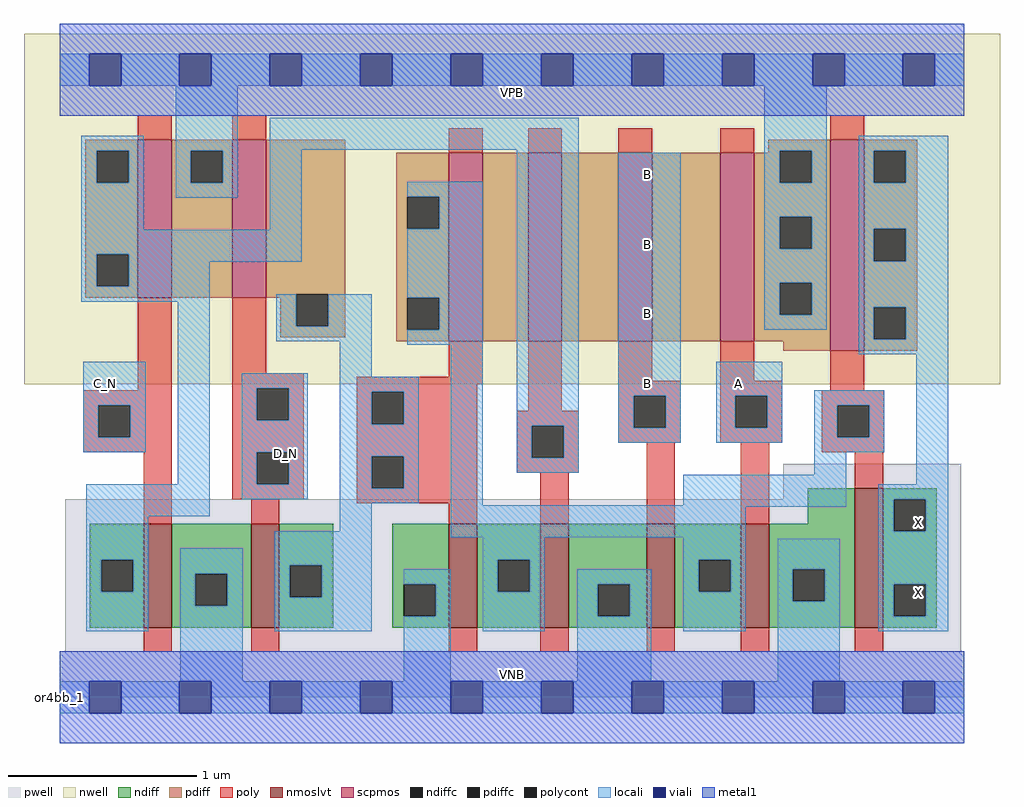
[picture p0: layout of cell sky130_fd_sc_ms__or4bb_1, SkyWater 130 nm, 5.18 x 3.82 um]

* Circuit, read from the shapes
.subckt sky130_fd_sc_ms__or4bb_1 A B C_N D_N VGND VNB VPB VPWR X
XM1 VGND C_N n1 VNB sky130_fd_pr__nfet_01v8_lvt w=0.55 l=0.15
XM2 n2 D_N VGND VNB sky130_fd_pr__nfet_01v8_lvt w=0.55 l=0.15
XM3 n3 n2 VGND VNB sky130_fd_pr__nfet_01v8_lvt w=0.55 l=0.15
XM4 VGND n1 n3 VNB sky130_fd_pr__nfet_01v8_lvt w=0.55 l=0.15
XM5 n3 B VGND VNB sky130_fd_pr__nfet_01v8_lvt w=0.55 l=0.15
XM6 VGND A n3 VNB sky130_fd_pr__nfet_01v8_lvt w=0.55 l=0.15
XM7 X n3 VGND VNB sky130_fd_pr__nfet_01v8_lvt w=0.74 l=0.15
XM8 VPWR C_N n1 VPB sky130_fd_pr__pfet_01v8 w=0.84 l=0.18
XM9 n2 D_N VPWR VPB sky130_fd_pr__pfet_01v8 w=0.84 l=0.18
XM10 n4 n2 n3 VPB sky130_fd_pr__pfet_01v8 w=1 l=0.18
XM11 n5 n1 n4 VPB sky130_fd_pr__pfet_01v8 w=1 l=0.18
XM12 n6 B n5 VPB sky130_fd_pr__pfet_01v8 w=1 l=0.18
XM13 VPWR A n6 VPB sky130_fd_pr__pfet_01v8 w=1 l=0.18
XM14 X n3 VPWR VPB sky130_fd_pr__pfet_01v8 w=1.12 l=0.18
.ends

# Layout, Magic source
magic
tech sky130A
magscale 1 2
<< nwell >>
rect -38 332 998 704
<< pwell >>
rect 768 210 957 248
rect 6 49 957 210
rect 0 0 960 49
<< scpmos >>
rect 83 424 119 592
rect 183 424 219 592
rect 413 378 449 578
rect 497 378 533 578
rect 593 378 629 578
rect 701 378 737 578
rect 818 368 854 592
<< nmoslvt >>
rect 89 74 119 184
rect 203 74 233 184
rect 413 74 443 184
rect 510 74 540 184
rect 623 74 653 184
rect 723 74 753 184
rect 844 74 874 222
<< ndiff >>
rect 794 184 844 222
rect 32 146 89 184
rect 32 112 44 146
rect 78 112 89 146
rect 32 74 89 112
rect 119 131 203 184
rect 119 97 144 131
rect 178 97 203 131
rect 119 74 203 97
rect 233 140 290 184
rect 233 106 244 140
rect 278 106 290 140
rect 233 74 290 106
rect 353 120 413 184
rect 353 86 365 120
rect 399 86 413 120
rect 353 74 413 86
rect 443 146 510 184
rect 443 112 465 146
rect 499 112 510 146
rect 443 74 510 112
rect 540 120 623 184
rect 540 86 571 120
rect 605 86 623 120
rect 540 74 623 86
rect 653 146 723 184
rect 653 112 678 146
rect 712 112 723 146
rect 653 74 723 112
rect 753 136 844 184
rect 753 102 778 136
rect 812 102 844 136
rect 753 74 844 102
rect 874 210 931 222
rect 874 176 885 210
rect 919 176 931 210
rect 874 120 931 176
rect 874 86 885 120
rect 919 86 931 120
rect 874 74 931 86
<< pdiff >>
rect 27 580 83 592
rect 27 546 39 580
rect 73 546 83 580
rect 27 470 83 546
rect 27 436 39 470
rect 73 436 83 470
rect 27 424 83 436
rect 119 580 183 592
rect 119 546 139 580
rect 173 546 183 580
rect 119 424 183 546
rect 219 428 303 592
rect 752 580 818 592
rect 752 578 764 580
rect 219 424 251 428
rect 234 394 251 424
rect 285 394 303 428
rect 234 382 303 394
rect 357 531 413 578
rect 357 497 369 531
rect 403 497 413 531
rect 357 424 413 497
rect 357 390 369 424
rect 403 390 413 424
rect 357 378 413 390
rect 449 378 497 578
rect 533 378 593 578
rect 629 378 701 578
rect 737 546 764 578
rect 798 546 818 580
rect 737 510 818 546
rect 737 476 764 510
rect 798 476 818 510
rect 737 440 818 476
rect 737 406 764 440
rect 798 406 818 440
rect 737 378 818 406
rect 768 368 818 378
rect 854 580 910 592
rect 854 546 864 580
rect 898 546 910 580
rect 854 497 910 546
rect 854 463 864 497
rect 898 463 910 497
rect 854 414 910 463
rect 854 380 864 414
rect 898 380 910 414
rect 854 368 910 380
<< ndiffc >>
rect 44 112 78 146
rect 144 97 178 131
rect 244 106 278 140
rect 365 86 399 120
rect 465 112 499 146
rect 571 86 605 120
rect 678 112 712 146
rect 778 102 812 136
rect 885 176 919 210
rect 885 86 919 120
<< pdiffc >>
rect 39 546 73 580
rect 39 436 73 470
rect 139 546 173 580
rect 251 394 285 428
rect 369 497 403 531
rect 369 390 403 424
rect 764 546 798 580
rect 764 476 798 510
rect 764 406 798 440
rect 864 546 898 580
rect 864 463 898 497
rect 864 380 898 414
<< poly >>
rect 83 592 119 618
rect 183 592 219 618
rect 413 578 449 604
rect 497 578 533 604
rect 593 578 629 604
rect 701 578 737 604
rect 818 592 854 618
rect 83 326 119 424
rect 25 310 119 326
rect 25 276 41 310
rect 75 276 119 310
rect 25 260 119 276
rect 89 184 119 260
rect 183 344 219 424
rect 183 328 259 344
rect 413 340 449 378
rect 183 294 209 328
rect 243 294 259 328
rect 183 260 259 294
rect 183 226 209 260
rect 243 226 259 260
rect 183 210 259 226
rect 315 332 449 340
rect 315 324 443 332
rect 315 290 331 324
rect 365 290 443 324
rect 497 304 533 378
rect 593 336 629 378
rect 701 336 737 378
rect 593 320 659 336
rect 315 256 443 290
rect 315 222 331 256
rect 365 222 443 256
rect 485 288 551 304
rect 485 254 501 288
rect 535 254 551 288
rect 593 286 609 320
rect 643 286 659 320
rect 593 270 659 286
rect 701 320 767 336
rect 818 326 854 368
rect 701 286 717 320
rect 751 286 767 320
rect 701 270 767 286
rect 809 310 875 326
rect 809 276 825 310
rect 859 276 875 310
rect 485 238 551 254
rect 203 184 233 210
rect 315 206 443 222
rect 413 184 443 206
rect 510 184 540 238
rect 623 184 653 270
rect 723 184 753 270
rect 809 260 875 276
rect 844 222 874 260
rect 89 48 119 74
rect 203 48 233 74
rect 413 48 443 74
rect 510 48 540 74
rect 623 48 653 74
rect 723 48 753 74
rect 844 48 874 74
<< polycont >>
rect 41 276 75 310
rect 209 294 243 328
rect 209 226 243 260
rect 331 290 365 324
rect 331 222 365 256
rect 501 254 535 288
rect 609 286 643 320
rect 717 286 751 320
rect 825 276 859 310
<< locali >>
rect 0 649 31 683
rect 65 649 127 683
rect 161 649 223 683
rect 257 649 319 683
rect 353 649 415 683
rect 449 649 511 683
rect 545 649 607 683
rect 641 649 703 683
rect 737 649 799 683
rect 833 649 895 683
rect 929 649 960 683
rect 23 580 89 596
rect 23 546 39 580
rect 73 546 89 580
rect 23 496 89 546
rect 123 580 189 649
rect 123 546 139 580
rect 173 546 189 580
rect 123 530 189 546
rect 223 581 551 615
rect 223 496 257 581
rect 23 470 257 496
rect 23 436 39 470
rect 73 462 257 470
rect 369 531 449 547
rect 403 497 449 531
rect 73 436 159 462
rect 23 420 159 436
rect 25 310 91 356
rect 25 276 41 310
rect 75 276 91 310
rect 25 260 91 276
rect 125 226 159 420
rect 230 394 251 428
rect 285 394 331 428
rect 230 378 331 394
rect 28 192 159 226
rect 193 328 263 344
rect 193 294 209 328
rect 243 294 263 328
rect 193 260 263 294
rect 193 226 209 260
rect 243 226 263 260
rect 193 210 263 226
rect 297 340 331 378
rect 369 424 449 497
rect 403 390 449 424
rect 369 374 449 390
rect 297 324 381 340
rect 297 290 331 324
rect 365 290 381 324
rect 297 256 381 290
rect 297 222 331 256
rect 365 222 381 256
rect 297 206 381 222
rect 28 146 94 192
rect 297 176 331 206
rect 28 112 44 146
rect 78 112 94 146
rect 28 70 94 112
rect 128 131 194 158
rect 128 97 144 131
rect 178 97 194 131
rect 128 17 194 97
rect 228 140 331 176
rect 415 204 449 374
rect 485 288 551 581
rect 748 580 814 649
rect 485 254 501 288
rect 535 254 551 288
rect 593 320 659 578
rect 748 546 764 580
rect 798 546 814 580
rect 748 510 814 546
rect 748 476 764 510
rect 798 476 814 510
rect 748 440 814 476
rect 748 406 764 440
rect 798 406 814 440
rect 748 390 814 406
rect 848 580 943 596
rect 848 546 864 580
rect 898 546 943 580
rect 848 497 943 546
rect 848 463 864 497
rect 898 463 943 497
rect 848 414 943 463
rect 848 380 864 414
rect 898 380 943 414
rect 848 364 943 380
rect 593 286 609 320
rect 643 286 659 320
rect 593 270 659 286
rect 697 320 767 356
rect 697 286 717 320
rect 751 286 767 320
rect 697 270 767 286
rect 801 310 875 326
rect 801 276 825 310
rect 859 276 875 310
rect 485 238 551 254
rect 801 260 875 276
rect 801 236 835 260
rect 662 204 835 236
rect 909 226 943 364
rect 415 202 835 204
rect 869 210 943 226
rect 415 170 728 202
rect 228 106 244 140
rect 278 106 331 140
rect 449 146 515 170
rect 228 70 331 106
rect 365 120 415 136
rect 399 86 415 120
rect 365 17 415 86
rect 449 112 465 146
rect 499 112 515 146
rect 662 146 728 170
rect 869 176 885 210
rect 919 176 943 210
rect 449 70 515 112
rect 549 120 628 136
rect 549 86 571 120
rect 605 86 628 120
rect 549 17 628 86
rect 662 112 678 146
rect 712 112 728 146
rect 662 70 728 112
rect 762 136 828 168
rect 762 102 778 136
rect 812 102 828 136
rect 762 17 828 102
rect 869 120 943 176
rect 869 86 885 120
rect 919 86 943 120
rect 869 70 943 86
rect 0 -17 31 17
rect 65 -17 127 17
rect 161 -17 223 17
rect 257 -17 319 17
rect 353 -17 415 17
rect 449 -17 511 17
rect 545 -17 607 17
rect 641 -17 703 17
rect 737 -17 799 17
rect 833 -17 895 17
rect 929 -17 960 17
<< viali >>
rect 31 649 65 683
rect 127 649 161 683
rect 223 649 257 683
rect 319 649 353 683
rect 415 649 449 683
rect 511 649 545 683
rect 607 649 641 683
rect 703 649 737 683
rect 799 649 833 683
rect 895 649 929 683
rect 31 -17 65 17
rect 127 -17 161 17
rect 223 -17 257 17
rect 319 -17 353 17
rect 415 -17 449 17
rect 511 -17 545 17
rect 607 -17 641 17
rect 703 -17 737 17
rect 799 -17 833 17
rect 895 -17 929 17
<< metal1 >>
rect 0 683 960 715
rect 0 649 31 683
rect 65 649 127 683
rect 161 649 223 683
rect 257 649 319 683
rect 353 649 415 683
rect 449 649 511 683
rect 545 649 607 683
rect 641 649 703 683
rect 737 649 799 683
rect 833 649 895 683
rect 929 649 960 683
rect 0 617 960 649
rect 0 17 960 49
rect 0 -17 31 17
rect 65 -17 127 17
rect 161 -17 223 17
rect 257 -17 319 17
rect 353 -17 415 17
rect 449 -17 511 17
rect 545 -17 607 17
rect 641 -17 703 17
rect 737 -17 799 17
rect 833 -17 895 17
rect 929 -17 960 17
rect 0 -49 960 -17
<< labels >>
flabel pwell s 0 0 960 49 0 FreeSans 200 0 0 0 VNB
port 6 nsew ground bidirectional
flabel nwell s 0 617 960 666 0 FreeSans 200 0 0 0 VPB
port 7 nsew power bidirectional
rlabel comment s 0 0 0 0 4 or4bb_1
flabel metal1 s 0 617 960 666 0 FreeSans 340 0 0 0 VPWR
port 8 nsew power bidirectional
flabel metal1 s 0 0 960 49 0 FreeSans 340 0 0 0 VGND
port 5 nsew ground bidirectional
flabel locali s 223 242 257 276 0 FreeSans 340 0 0 0 D_N
port 4 nsew signal input
flabel locali s 31 316 65 350 0 FreeSans 340 0 0 0 C_N
port 3 nsew signal input
flabel locali s 607 316 641 350 0 FreeSans 340 0 0 0 B
port 2 nsew signal input
flabel locali s 607 390 641 424 0 FreeSans 340 0 0 0 B
port 2 nsew signal input
flabel locali s 607 464 641 498 0 FreeSans 340 0 0 0 B
port 2 nsew signal input
flabel locali s 607 538 641 572 0 FreeSans 340 0 0 0 B
port 2 nsew signal input
flabel locali s 703 316 737 350 0 FreeSans 340 0 0 0 A
port 1 nsew signal input
flabel locali s 895 94 929 128 0 FreeSans 340 0 0 0 X
port 9 nsew signal output
flabel locali s 895 168 929 202 0 FreeSans 340 0 0 0 X
port 9 nsew signal output
<< properties >>
string LEFsite unit
string LEFclass CORE
string FIXED_BBOX 0 0 960 666
string GDS_FILE $PDKPATH/libs.ref/sky130_fd_sc_ms/gds/sky130_fd_sc_ms.gds
string LEFsymmetry X Y
string GDS_END 3798168
string GDS_START 3790056
<< end >>
